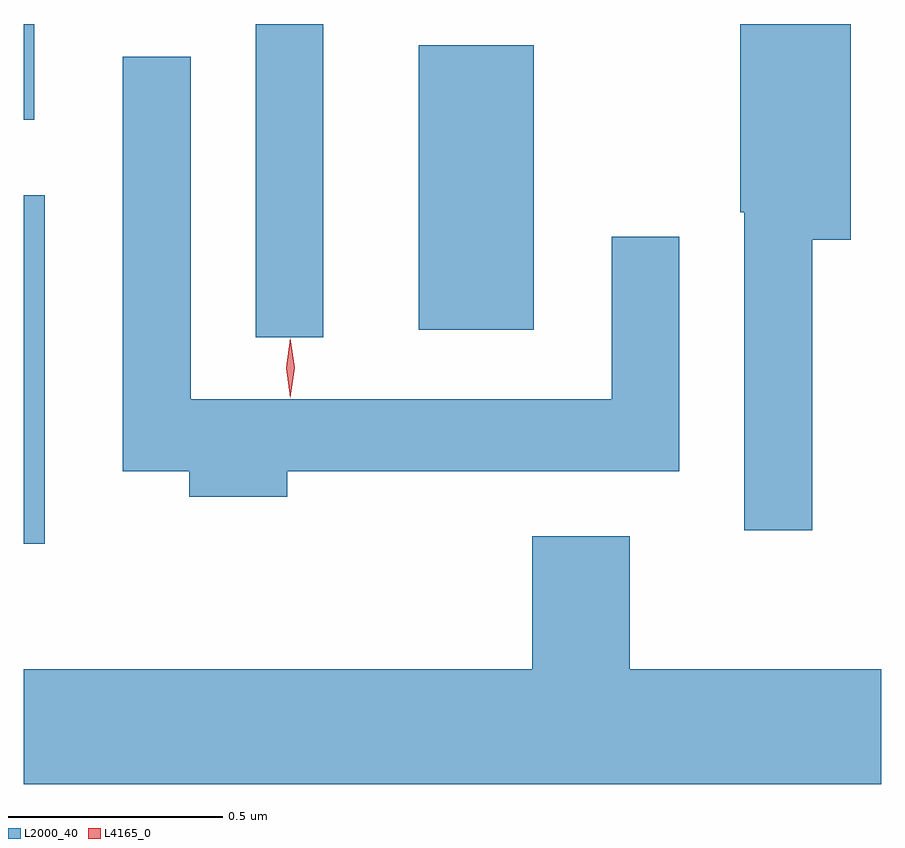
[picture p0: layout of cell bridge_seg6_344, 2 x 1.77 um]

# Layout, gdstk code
import gdstk
lib = gdstk.Library(unit=1e-6, precision=1e-09)
def R(c, l, rs):  # rectangles x0, y0, x1, y1
    for r in rs: c.add(gdstk.rectangle(r[:2], r[2:], *l))
def P(c, l, *ps):  # polygons
    for p in ps: c.add(gdstk.Polygon(p, *l))
L2000_40 = (2000, 40)
L4165_0 = (4165, 0)

bridge_seg6_344 = lib.new_cell('bridge_seg6_344')
R(bridge_seg6_344, L2000_40, [(1319.155,1535.056,1319.204,1535.869), (1319.696,1535.538,1319.854,1536.269), (1320.076,1535.556,1320.344,1536.219), (1319.155,1536.046,1319.179,1536.269)])
P(bridge_seg6_344, L2000_40, [(1320.994,1535.766),(1321.084,1535.766),(1321.084,1536.269),(1320.826,1536.269),(1320.826,1535.83),(1320.836,1535.83),(1320.836,1535.088),(1320.994,1535.088)],
  [(1319.769,1535.226),(1320.684,1535.226),(1320.684,1535.773),(1320.526,1535.773),(1320.526,1535.394),(1319.544,1535.394),(1319.544,1536.193),(1319.386,1536.193),(1319.386,1535.226),(1319.541,1535.226),(1319.541,1535.166),(1319.769,1535.166)],
  [(1321.155,1534.764),(1320.569,1534.764),(1320.569,1535.074),(1320.341,1535.074),(1320.341,1534.764),(1319.155,1534.764),(1319.155,1534.496),(1321.155,1534.496)])
P(bridge_seg6_344, L4165_0, [(1319.776,1535.397),(1319.767,1535.467),(1319.776,1535.536),(1319.777,1535.536),(1319.777,1535.536),(1319.787,1535.467),(1319.777,1535.397),(1319.777,1535.397)],
  [(1319.777,1535.399),(1319.776,1535.4),(1319.767,1535.466),(1319.776,1535.532),(1319.776,1535.533),(1319.777,1535.532),(1319.786,1535.466),(1319.777,1535.4)])

lib.write_gds('bridge_seg6_344.gds')
